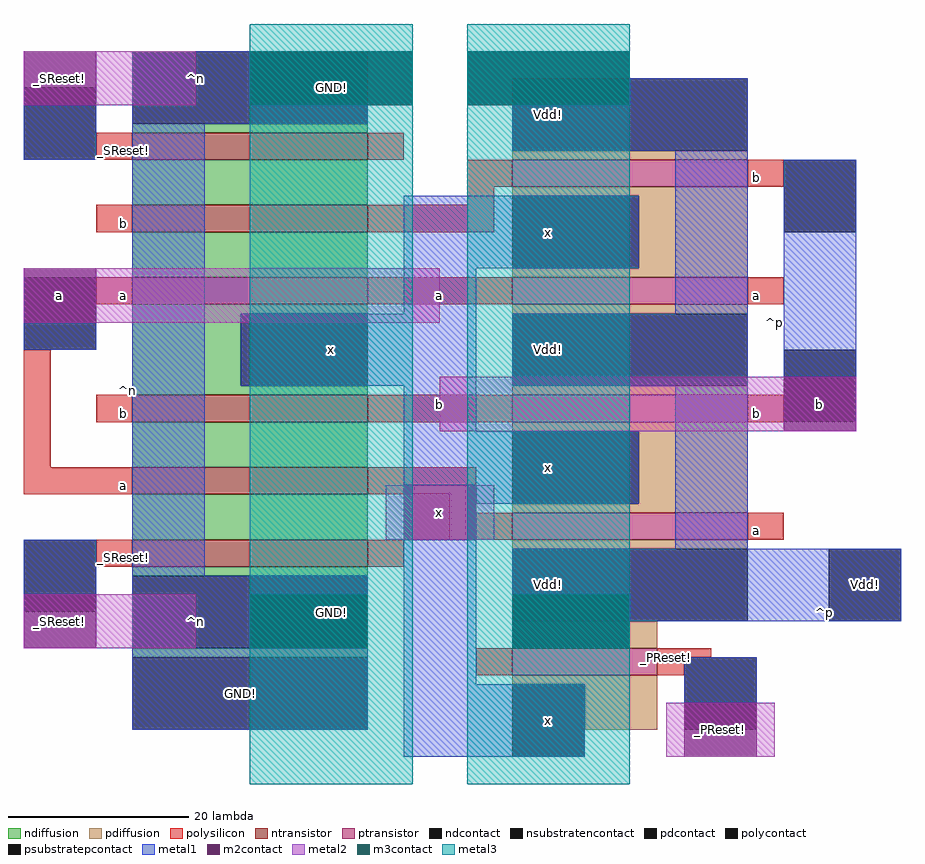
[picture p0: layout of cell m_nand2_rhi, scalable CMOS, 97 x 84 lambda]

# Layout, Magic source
magic
tech scmos
<< ndiffusion >>
rect -34 75 -8 76
rect -34 67 -8 72
rect -34 59 -8 64
rect -34 55 -8 56
rect -34 47 -22 55
rect -34 46 -8 47
rect -34 38 -8 43
rect -34 30 -8 35
rect -34 26 -8 27
rect -34 17 -8 18
<< pdiffusion >>
rect 8 72 34 73
rect 8 68 34 69
rect 22 60 34 68
rect 8 59 34 60
rect 8 55 34 56
rect 8 46 34 47
rect 8 42 34 43
rect 22 34 34 42
rect 8 33 34 34
rect 8 29 34 30
rect 8 18 24 21
rect 8 14 24 15
rect 16 9 24 14
<< ntransistor >>
rect -34 72 -8 75
rect -34 64 -8 67
rect -34 56 -8 59
rect -34 43 -8 46
rect -34 35 -8 38
rect -34 27 -8 30
<< ptransistor >>
rect 8 69 34 72
rect 8 56 34 59
rect 8 43 34 46
rect 8 30 34 33
rect 8 15 24 18
<< polysilicon >>
rect -38 72 -34 75
rect -8 72 -4 75
rect 3 69 8 72
rect 34 69 38 72
rect 3 67 6 69
rect -38 64 -34 67
rect -8 64 6 67
rect -38 56 -34 59
rect -8 56 8 59
rect 34 56 38 59
rect -46 38 -43 51
rect -38 43 -34 46
rect -8 43 8 46
rect 34 43 38 46
rect -46 35 -34 38
rect -8 35 4 38
rect 1 33 4 35
rect 1 30 8 33
rect 34 30 38 33
rect -38 27 -34 30
rect -8 27 -4 30
rect 4 15 8 18
rect 24 17 30 18
rect 24 15 27 17
<< ndcontact >>
rect -34 76 -8 84
rect -22 47 -8 55
rect -34 18 -8 26
<< pdcontact >>
rect 8 73 34 81
rect 8 60 22 68
rect 8 47 34 55
rect 8 34 22 42
rect 8 21 34 29
rect 8 6 16 14
<< psubstratepcontact >>
rect -34 9 -8 17
<< nsubstratencontact >>
rect 43 21 51 29
<< polycontact >>
rect -46 72 -38 80
rect 38 64 46 72
rect -46 51 -38 59
rect 38 43 46 51
rect -46 22 -38 30
rect 27 9 35 17
<< metal1 >>
rect -46 72 -38 78
rect -34 78 -21 84
rect 21 78 34 81
rect -34 76 -8 78
rect -46 51 -38 54
rect -46 24 -38 30
rect -34 26 -26 76
rect 8 73 34 78
rect -4 60 22 68
rect -4 55 4 60
rect 26 55 34 73
rect -22 47 4 55
rect 8 47 34 55
rect -4 42 4 47
rect -4 36 22 42
rect 4 34 22 36
rect -34 24 -8 26
rect -34 18 -21 24
rect -34 9 -8 18
rect -4 14 4 30
rect 26 29 34 47
rect 38 48 46 72
rect 8 24 51 29
rect 21 21 51 24
rect -4 6 16 14
rect 27 12 35 17
<< m2contact >>
rect -46 78 -38 84
rect -21 78 -3 84
rect 3 78 21 84
rect -46 54 -38 60
rect -46 18 -38 24
rect -4 30 4 36
rect -21 18 -8 24
rect 38 42 46 48
rect 8 18 21 24
rect 27 6 35 12
<< metal2 >>
rect -46 78 -27 84
rect -46 54 0 60
rect 0 42 46 48
rect -6 30 6 36
rect -46 18 -27 24
rect 25 6 37 12
<< m3contact >>
rect -21 78 -3 84
rect 3 78 21 84
rect -21 18 -8 24
rect 8 18 21 24
<< metal3 >>
rect -21 3 -3 87
rect 3 3 21 87
<< labels >>
rlabel metal1 12 10 12 10 1 x
rlabel polysilicon 25 17 25 17 7 _PReset!
rlabel metal1 12 64 12 64 1 x
rlabel metal1 12 77 12 77 5 Vdd!
rlabel metal1 12 51 12 51 1 Vdd!
rlabel metal1 12 38 12 38 5 x
rlabel metal1 12 25 12 25 1 Vdd!
rlabel m2contact -12 22 -12 22 1 GND!
rlabel m2contact -12 80 -12 80 5 GND!
rlabel metal1 -12 51 -12 51 5 x
rlabel polysilicon -35 73 -35 73 1 _SReset!
rlabel polysilicon -35 28 -35 28 1 _SReset!
rlabel polysilicon -35 36 -35 36 3 a
rlabel polysilicon -35 57 -35 57 3 a
rlabel polysilicon -35 44 -35 44 3 b
rlabel polysilicon -35 65 -35 65 3 b
rlabel polysilicon 35 70 35 70 1 b
rlabel polysilicon 35 44 35 44 1 b
rlabel polysilicon 35 57 35 57 1 a
rlabel polysilicon 35 31 35 31 1 a
rlabel metal2 31 9 31 9 1 _PReset!
rlabel metal2 0 33 0 33 1 x
rlabel metal2 0 54 0 60 7 a
rlabel metal2 0 42 0 48 3 b
rlabel metal2 -42 81 -42 81 3 _SReset!
rlabel metal2 -42 21 -42 21 3 _SReset!
rlabel metal2 -27 18 -27 24 3 ^n
rlabel metal2 -27 78 -27 84 3 ^n
rlabel metal1 -22 13 -22 13 1 GND!
rlabel space -47 8 -22 85 7 ^n
rlabel metal1 47 25 47 25 7 Vdd!
rlabel space 22 26 52 82 3 ^p
rlabel space 33 20 52 24 3 ^p
rlabel metal2 -42 57 -42 57 3 a
rlabel metal2 42 45 42 45 1 b
<< end >>
